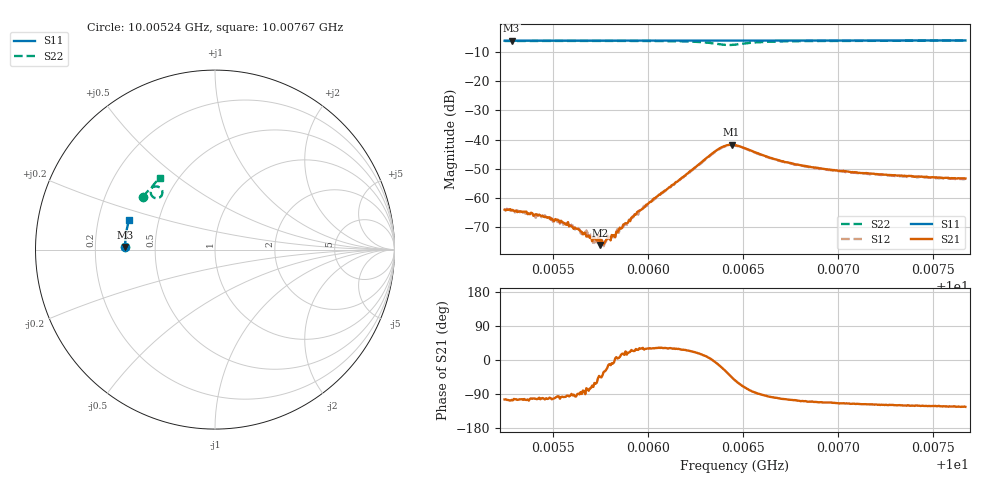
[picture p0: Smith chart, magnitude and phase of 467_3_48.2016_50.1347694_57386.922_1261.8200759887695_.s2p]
#  HZ  S  RI  R  50.00
! Rohde & Schwarz Vector Network Analyzer
! Rohde-Schwarz,ZNB20-2Port,1311601062101988,3.16
! Created: UTC 3/20/2024, 11:57:00 AM
! freq[Hz]  re:S11  im:S11  re:S21  im:S21  re:S12  im:S12  re:S22  im:S22
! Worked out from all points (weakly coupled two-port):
!   401 points, 10.00524 GHz to 10.00767 GHz, reference 50 ohm
!   highest |S21| = -41.81 dB at 10.00644 GHz (marker M1); lowest = -76.2 dB at 10.00575 GHz (marker M2)
!   lowest |S11| = -6.0 dB at 10.00528 GHz (marker M3), VSWR 3.01, Z = 16.6 + j0.662 ohm
!   |S11| at or under -10 dB: nowhere
!   |S22| runs from -7.5 to -6.0 dB; largest |S21 - S12| = 0.00053
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1.0005244e10  -0.501 0.0125  -0.000152 -0.000604  -0.00012 -0.000592  -0.4006 0.2916
1.000528e10  -0.5009 0.0149  -0.000159 -0.00058  -0.000102 -0.000607  -0.3993 0.2938
1.0005438e10  -0.5007 0.0251  -9.58e-05 -0.000474  -7.9e-05 -0.000456  -0.3925 0.3029
1.0005511e10  -0.5007 0.03  -7.21e-05 -0.000422  -5.65e-05 -0.00037  -0.3895 0.3073
1.0005583e10  -0.5006 0.0347  -3.4e-05 -0.000319  -2.13e-05 -0.000349  -0.3863 0.3118
1.000565e10  -0.5002 0.039  1.65e-06 -0.000257  1.33e-05 -0.000236  -0.383 0.3158
1.0005687e10  -0.5003 0.0414  3.52e-05 -0.000221  4.67e-05 -0.000209  -0.3812 0.318
1.0005717e10  -0.5 0.0435  9.98e-05 -0.000177  0.000104 -0.00019  -0.3796 0.32
1.0005729e10  -0.5001 0.0441  9.23e-05 -0.000159  0.000118 -0.000126  -0.379 0.3208
1.0005747e10  -0.4999 0.0453  0.000109 -0.000108  0.000126 -0.000124  -0.378 0.3219
1.0005765e10  -0.4999 0.0465  0.000136 -8.31e-05  0.000103 -0.000104  -0.377 0.323
1.0005796e10  -0.4999 0.0484  0.000208 -3.96e-05  0.000219 -3.2e-05  -0.3754 0.3249
1.0005814e10  -0.4997 0.0498  0.000217 -3.59e-05  0.000208 1.34e-05  -0.3742 0.3259
1.0005966e10  -0.499 0.0595  0.000544 0.000316  0.000524 0.000322  -0.3642 0.3361
1.0006057e10  -0.4985 0.0655  0.000947 0.000612  0.00089 0.000614  -0.3563 0.3423
1.000636e10  -0.4955 0.0849  0.00647 -0.000941  0.00636 -0.000611  -0.2951 0.3303
1.0006439e10  -0.4947 0.0894  0.00574 -0.00574  0.00593 -0.00535  -0.309 0.2901
1.0006457e10  -0.4947 0.0905  0.00476 -0.00647  0.005 -0.00603  -0.3188 0.2867
1.0006669e10  -0.4929 0.1041  -0.000772 -0.0045  -0.000542 -0.00446  -0.358 0.327
1.0006863e10  -0.4908 0.1164  -0.00111 -0.00314  -0.00095 -0.00314  -0.3499 0.3498
1.000727e10  -0.4847 0.1422  -0.00117 -0.00217  -0.00104 -0.00215  -0.3287 0.3769
1.000767e10  -0.4776 0.1669  -0.00118 -0.00178  -0.00107 -0.00182  -0.3083 0.397
